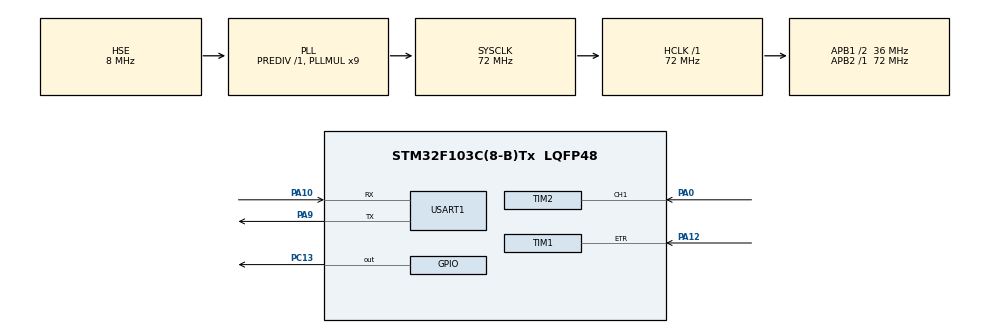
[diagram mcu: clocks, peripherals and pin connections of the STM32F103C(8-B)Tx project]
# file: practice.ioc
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Dma.Request0=USART1_RX
Dma.USART1_RX.0.Direction=DMA_PERIPH_TO_MEMORY
Dma.USART1_RX.0.Instance=DMA1_Channel5
Dma.USART1_RX.0.MemDataAlignment=DMA_MDATAALIGN_BYTE
Dma.USART1_RX.0.MemInc=DMA_MINC_ENABLE
Dma.USART1_RX.0.Mode=DMA_NORMAL
Dma.USART1_RX.0.PeriphDataAlignment=DMA_PDATAALIGN_BYTE
Dma.USART1_RX.0.PeriphInc=DMA_PINC_DISABLE
Dma.USART1_RX.0.Priority=DMA_PRIORITY_LOW
Mcu.Family=STM32F1
Mcu.Name=STM32F103C(8-B)Tx
Mcu.Package=LQFP48
NVIC.DMA1_Channel5_IRQn=true\:0\:0\:false\:false\:true\:false\:true\:true
NVIC.PriorityGroup=NVIC_PRIORITYGROUP_4
NVIC.TIM1_UP_IRQn=true\:0\:0\:false\:false\:true\:true\:true\:true
NVIC.TIM2_IRQn=true\:0\:0\:false\:false\:true\:true\:true\:true
NVIC.USART1_IRQn=true\:0\:0\:false\:false\:true\:true\:true\:true
PA0-WKUP.Signal=S_TIM2_CH1_ETR
PA10.Mode=Asynchronous
PA10.Signal=USART1_RX
PA12.Signal=S_TIM1_ETR
PA13.Mode=Serial_Wire
PA13.Signal=SYS_JTMS-SWDIO
PA14.Mode=Serial_Wire
PA14.Signal=SYS_JTCK-SWCLK
PA9.Mode=Asynchronous
PA9.Signal=USART1_TX
PC13-TAMPER-RTC.Signal=GPIO_Output
PD0-OSC_IN.Mode=HSE-External-Oscillator
PD0-OSC_IN.Signal=RCC_OSC_IN
PD1-OSC_OUT.Mode=HSE-External-Oscillator
PD1-OSC_OUT.Signal=RCC_OSC_OUT
ProjectManager.HeapSize=0x200
ProjectManager.StackSize=0x400
ProjectManager.TargetToolchain=STM32CubeIDE
RCC.AHBFreq_Value=72000000
RCC.APB1CLKDivider=RCC_HCLK_DIV2
RCC.APB1Freq_Value=36000000
RCC.APB1TimFreq_Value=72000000
RCC.APB2Freq_Value=72000000
RCC.APB2TimFreq_Value=72000000
RCC.HCLKFreq_Value=72000000
RCC.PLLMUL=RCC_PLL_MUL9
RCC.PLLSourceVirtual=RCC_PLLSOURCE_HSE
RCC.SYSCLKFreq_VALUE=72000000
RCC.SYSCLKSource=RCC_SYSCLKSOURCE_PLLCLK
RCC.USBFreq_Value=72000000
SH.S_TIM1_ETR.0=TIM1_ETR,ClockSourceETR_Mode2
SH.S_TIM2_CH1_ETR.0=TIM2_CH1,Input_Capture1_from_TI1
SH.S_TIM2_CH1_ETR.1=TIM2_CH1
TIM2.Channel-Input_Capture1_from_TI1=TIM_CHANNEL_1
TIM2.Channel-Input_Capture2_from_TI1_63=TIM_CHANNEL_2
TIM2.ICPolarity_CH2=TIM_INPUTCHANNELPOLARITY_FALLING
TIM2.Prescaler=0
USART1.VirtualMode=VM_ASYNC
VP_TIM2_VS_ClockSourceINT.Mode=Internal
VP_TIM2_VS_indirect_ch1.Mode=Input_Capture2_from_TI1_63
board=custom

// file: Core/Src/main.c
/* USER CODE BEGIN Header */
/**
  ******************************************************************************
  * @file           : main.c
  * @brief          : Main program body
  ******************************************************************************
  * @attention
  *
  * Copyright (c) 2026 STMicroelectronics.
  * All rights reserved.
  *
  * This software is licensed under terms that can be found in the LICENSE file
  * in the root directory of this software component.
  * If no LICENSE file comes with this software, it is provided AS-IS.
  *
  ******************************************************************************
  */
/* USER CODE END Header */
#include "main.h"

/* USER CODE BEGIN Includes */
#include <string.h>
#include <stdio.h>
#include <stdint.h>
#include <stdlib.h>
/* USER CODE END Includes */

TIM_HandleTypeDef htim1;
TIM_HandleTypeDef htim2;

UART_HandleTypeDef huart1;
DMA_HandleTypeDef hdma_usart1_rx;

/* USER CODE BEGIN PV */

#define TIM2_CLK_HZ        72000000UL
#define WIDTH_BUF_SIZE     8192
#define UART_CMD_BUF_SIZE  64

/* UART 命令行 */

uint8_t uart_rx_byte = 0;

char uart_rx_buf[UART_CMD_BUF_SIZE];
char uart_cmd_buf[UART_CMD_BUF_SIZE];

volatile uint8_t uart_rx_index = 0;
volatile uint8_t uart_cmd_ready = 0;

/* 脉宽采集 */

volatile uint16_t width_buf[WIDTH_BUF_SIZE];

volatile uint32_t width_count = 0;
volatile uint8_t acquisition_on = 0;

volatile uint32_t width_total_count = 0;
volatile uint32_t width_write_index = 0;
volatile uint8_t width_buf_overwritten = 0;

uint32_t acquisition_start_tick = 0;
uint32_t acquisition_duration_ms = 0;

volatile uint8_t acquisition_done = 0;

volatile uint16_t last_width_ticks = 0;

uint32_t last_blink_tick = 0;

volatile uint16_t rise_ccr1 = 0;
volatile uint8_t rise_valid = 0;

/* TIM1_ETR */
volatile uint32_t etr_overflow = 0;
volatile uint32_t etr_count_latched = 0;
volatile uint8_t width_buf_full = 0;

/* USER CODE END PV */

void SystemClock_Config(void);
static void MX_GPIO_Init(void);
static void MX_DMA_Init(void);
static void MX_USART1_UART_Init(void);
static void MX_TIM2_Init(void);
static void MX_TIM1_Init(void);
/* USER CODE BEGIN PFP */

void Process_Command(char *cmd);
void Uart_SendString(const char *s);
static uint32_t Ticks_To_Ns(uint16_t ticks);
static void Save_Width_Ticks(uint16_t width_ticks);
static uint32_t Get_ETR_Count(void);
static void Stop_Acquisition(uint8_t reason);
/* USER CODE END PFP */

int main(void)
{

  /* MCU Configuration--------------------------------------------------------*/

  /* Reset of all peripherals, Initializes the Flash interface and the Systick. */
  HAL_Init();

  /* Configure the system clock */
  SystemClock_Config();

  /* Initialize all configured peripherals */
  MX_GPIO_Init();
  MX_DMA_Init();
  MX_USART1_UART_Init();
  MX_TIM2_Init();
  MX_TIM1_Init();
  /* USER CODE BEGIN 2 */
  HAL_UART_Receive_IT(&huart1, &uart_rx_byte, 1);

  HAL_TIM_IC_Start_IT(&htim2, TIM_CHANNEL_1);
  HAL_TIM_IC_Start_IT(&htim2, TIM_CHANNEL_2);

  Uart_SendString("Usage: start_n (n seconds, up to latest 8192 pulses), dump (export data)\r\n\r\n");

  /* USER CODE END 2 */

  /* Infinite loop */
  while (1)
  {

    /* USER CODE BEGIN 3 */

    if (uart_cmd_ready)
    {
        uart_cmd_ready = 0;
        Process_Command(uart_cmd_buf);
    }

    if (acquisition_on)
    {
        if (HAL_GetTick() - acquisition_start_tick >= acquisition_duration_ms)
        {
            Stop_Acquisition(1);
        }
    }
    if (acquisition_done)
    {
        char msg[128];

        if (acquisition_done == 1)
        {
            sprintf(msg,
                    "Acquisition finished. N=%lu,N_SAVED=%lu,ETR_COUNT=%lu\r\n",
                    width_total_count,
                    width_count,
                    etr_count_latched);
        }
        else
        {
            sprintf(msg,
                    "Acquisition stopped. N=%lu,N_SAVED=%lu,ETR_COUNT=%lu\r\n",
                    width_total_count,
                    width_count,
                    etr_count_latched);
        }

        acquisition_done = 0;
        Uart_SendString(msg);
    }

    if (HAL_GetTick() - last_blink_tick >= 500)
    {
        last_blink_tick = HAL_GetTick();
        HAL_GPIO_TogglePin(GPIOC, GPIO_PIN_13);
    }

  /* USER CODE END 3 */
  }
}

void SystemClock_Config(void)
{
  RCC_OscInitTypeDef RCC_OscInitStruct = {0};
  RCC_ClkInitTypeDef RCC_ClkInitStruct = {0};

  /** Initializes the RCC Oscillators according to the specified parameters
  * in the RCC_OscInitTypeDef structure.
  */
  RCC_OscInitStruct.OscillatorType = RCC_OSCILLATORTYPE_HSE;
  RCC_OscInitStruct.HSEState = RCC_HSE_ON;
  RCC_OscInitStruct.HSEPredivValue = RCC_HSE_PREDIV_DIV1;
  RCC_OscInitStruct.HSIState = RCC_HSI_ON;
  RCC_OscInitStruct.PLL.PLLState = RCC_PLL_ON;
  RCC_OscInitStruct.PLL.PLLSource = RCC_PLLSOURCE_HSE;
  RCC_OscInitStruct.PLL.PLLMUL = RCC_PLL_MUL9;
  if (HAL_RCC_OscConfig(&RCC_OscInitStruct) != HAL_OK)
  {
    Error_Handler();
  }

  /** Initializes the CPU, AHB and APB buses clocks
  */
  RCC_ClkInitStruct.ClockType = RCC_CLOCKTYPE_HCLK|RCC_CLOCKTYPE_SYSCLK
                              |RCC_CLOCKTYPE_PCLK1|RCC_CLOCKTYPE_PCLK2;
  RCC_ClkInitStruct.SYSCLKSource = RCC_SYSCLKSOURCE_PLLCLK;
  RCC_ClkInitStruct.AHBCLKDivider = RCC_SYSCLK_DIV1;
  RCC_ClkInitStruct.APB1CLKDivider = RCC_HCLK_DIV2;
  RCC_ClkInitStruct.APB2CLKDivider = RCC_HCLK_DIV1;

  if (HAL_RCC_ClockConfig(&RCC_ClkInitStruct, FLASH_LATENCY_2) != HAL_OK)
  {
    Error_Handler();
  }
}

static void MX_TIM1_Init(void)
{

  TIM_ClockConfigTypeDef sClockSourceConfig = {0};
  TIM_MasterConfigTypeDef sMasterConfig = {0};

  htim1.Instance = TIM1;
  htim1.Init.Prescaler = 0;
  htim1.Init.CounterMode = TIM_COUNTERMODE_UP;
  htim1.Init.Period = 65535;
  htim1.Init.ClockDivision = TIM_CLOCKDIVISION_DIV1;
  htim1.Init.RepetitionCounter = 0;
  htim1.Init.AutoReloadPreload = TIM_AUTORELOAD_PRELOAD_DISABLE;
  if (HAL_TIM_Base_Init(&htim1) != HAL_OK)
  {
    Error_Handler();
  }
  sClockSourceConfig.ClockSource = TIM_CLOCKSOURCE_ETRMODE2;
  sClockSourceConfig.ClockPolarity = TIM_CLOCKPOLARITY_NONINVERTED;
  sClockSourceConfig.ClockPrescaler = TIM_CLOCKPRESCALER_DIV1;
  sClockSourceConfig.ClockFilter = 0;
  if (HAL_TIM_ConfigClockSource(&htim1, &sClockSourceConfig) != HAL_OK)
  {
    Error_Handler();
  }
  sMasterConfig.MasterOutputTrigger = TIM_TRGO_RESET;
  sMasterConfig.MasterSlaveMode = TIM_MASTERSLAVEMODE_DISABLE;
  if (HAL_TIMEx_MasterConfigSynchronization(&htim1, &sMasterConfig) != HAL_OK)
  {
    Error_Handler();
  }

}

static void MX_TIM2_Init(void)
{

  TIM_ClockConfigTypeDef sClockSourceConfig = {0};
  TIM_MasterConfigTypeDef sMasterConfig = {0};
  TIM_IC_InitTypeDef sConfigIC = {0};

  htim2.Instance = TIM2;
  htim2.Init.Prescaler = 0;
  htim2.Init.CounterMode = TIM_COUNTERMODE_UP;
  htim2.Init.Period = 65535;
  htim2.Init.ClockDivision = TIM_CLOCKDIVISION_DIV1;
  htim2.Init.AutoReloadPreload = TIM_AUTORELOAD_PRELOAD_DISABLE;
  if (HAL_TIM_Base_Init(&htim2) != HAL_OK)
  {
    Error_Handler();
  }
  sClockSourceConfig.ClockSource = TIM_CLOCKSOURCE_INTERNAL;
  if (HAL_TIM_ConfigClockSource(&htim2, &sClockSourceConfig) != HAL_OK)
  {
    Error_Handler();
  }
  if (HAL_TIM_IC_Init(&htim2) != HAL_OK)
  {
    Error_Handler();
  }
  sMasterConfig.MasterOutputTrigger = TIM_TRGO_RESET;
  sMasterConfig.MasterSlaveMode = TIM_MASTERSLAVEMODE_DISABLE;
  if (HAL_TIMEx_MasterConfigSynchronization(&htim2, &sMasterConfig) != HAL_OK)
  {
    Error_Handler();
  }
  sConfigIC.ICPolarity = TIM_INPUTCHANNELPOLARITY_RISING;
  sConfigIC.ICSelection = TIM_ICSELECTION_DIRECTTI;
  sConfigIC.ICPrescaler = TIM_ICPSC_DIV1;
  sConfigIC.ICFilter = 0;
  if (HAL_TIM_IC_ConfigChannel(&htim2, &sConfigIC, TIM_CHANNEL_1) != HAL_OK)
  {
    Error_Handler();
  }
  sConfigIC.ICPolarity = TIM_INPUTCHANNELPOLARITY_FALLING;
  sConfigIC.ICSelection = TIM_ICSELECTION_INDIRECTTI;
  if (HAL_TIM_IC_ConfigChannel(&htim2, &sConfigIC, TIM_CHANNEL_2) != HAL_OK)
  {
    Error_Handler();
  }

}

static void MX_USART1_UART_Init(void)
{

  huart1.Instance = USART1;
  huart1.Init.BaudRate = 115200;
  huart1.Init.WordLength = UART_WORDLENGTH_8B;
  huart1.Init.StopBits = UART_STOPBITS_1;
  huart1.Init.Parity = UART_PARITY_NONE;
  huart1.Init.Mode = UART_MODE_TX_RX;
  huart1.Init.HwFlowCtl = UART_HWCONTROL_NONE;
  huart1.Init.OverSampling = UART_OVERSAMPLING_16;
  if (HAL_UART_Init(&huart1) != HAL_OK)
  {
    Error_Handler();
  }

}

static void MX_DMA_Init(void)
{

  /* DMA controller clock enable */
  __HAL_RCC_DMA1_CLK_ENABLE();

  /* DMA interrupt init */
  /* DMA1_Channel5_IRQn interrupt configuration */
  HAL_NVIC_SetPriority(DMA1_Channel5_IRQn, 0, 0);
  HAL_NVIC_EnableIRQ(DMA1_Channel5_IRQn);

}

static void MX_GPIO_Init(void)
{
  GPIO_InitTypeDef GPIO_InitStruct = {0};

  /* GPIO Ports Clock Enable */
  __HAL_RCC_GPIOC_CLK_ENABLE();
  __HAL_RCC_GPIOD_CLK_ENABLE();
  __HAL_RCC_GPIOA_CLK_ENABLE();

  /*Configure GPIO pin Output Level */
  HAL_GPIO_WritePin(GPIOC, GPIO_PIN_13, GPIO_PIN_RESET);

  /*Configure GPIO pin : PC13 */
  GPIO_InitStruct.Pin = GPIO_PIN_13;
  GPIO_InitStruct.Mode = GPIO_MODE_OUTPUT_PP;
  GPIO_InitStruct.Pull = GPIO_NOPULL;
  GPIO_InitStruct.Speed = GPIO_SPEED_FREQ_LOW;
  HAL_GPIO_Init(GPIOC, &GPIO_InitStruct);

}

/* USER CODE BEGIN 4 */

/* 串口发送 */

void Uart_SendString(const char *s)
{
    HAL_UART_Transmit(&huart1, (uint8_t *)s, strlen(s), HAL_MAX_DELAY);
}

/* tick 转 ns */
static uint32_t Ticks_To_Ns(uint16_t ticks)
{
    return (uint32_t)(((uint64_t)ticks * 1000000000ULL) / TIM2_CLK_HZ);
}

static uint32_t Get_ETR_Count(void)
{
    uint32_t high1, high2;
    uint16_t low;

    do
    {
        high1 = etr_overflow;
        low = (uint16_t)__HAL_TIM_GET_COUNTER(&htim1);
        high2 = etr_overflow;
    } while (high1 != high2);

    return high2 * 65536UL + low;
}

static void Stop_Acquisition(uint8_t reason)
{
    acquisition_on = 0;

    HAL_TIM_Base_Stop_IT(&htim1);

    etr_count_latched = Get_ETR_Count();
    acquisition_done = reason;
}
/* 保存脉宽 */
static void Save_Width_Ticks(uint16_t width_ticks)
{
    last_width_ticks = width_ticks;

    if (acquisition_on)
    {
        width_total_count++;

        width_buf[width_write_index] = width_ticks;

        width_write_index++;
        if (width_write_index >= WIDTH_BUF_SIZE)
        {
            width_write_index = 0;
        }

        if (width_count < WIDTH_BUF_SIZE)
        {
            width_count++;
        }
        else
        {
            width_buf_overwritten = 1;
        }
    }
}
/* 命令处理 */
void Process_Command(char *cmd)
{
    char msg[128];
    if (strncmp(cmd, "start_", 6) == 0)
    {
        int seconds = atoi(&cmd[6]);

        if (seconds <= 0)
        {
            Uart_SendString("ERROR: bad acquisition time\r\n");
            return;
        }

        HAL_TIM_Base_Stop_IT(&htim1);

        __disable_irq();

        width_count = 0;
        width_total_count = 0;
        width_write_index = 0;
        width_buf_overwritten = 0;

        last_width_ticks = 0;
        rise_ccr1 = 0;
        rise_valid = 0;

        etr_overflow = 0;
        etr_count_latched = 0;

        __HAL_TIM_SET_COUNTER(&htim1, 0);
        __HAL_TIM_CLEAR_FLAG(&htim1, TIM_FLAG_UPDATE);

        acquisition_duration_ms = (uint32_t)seconds * 1000UL;
        acquisition_start_tick = HAL_GetTick();
        acquisition_done = 0;
        acquisition_on = 1;

        __enable_irq();

        if (HAL_TIM_Base_Start_IT(&htim1) != HAL_OK)
        {
            acquisition_on = 0;
            Uart_SendString("ERROR: TIM1_ETR start failed\r\n");
            return;
        }

        sprintf(msg, "Acquisition started for %d s.\r\n", seconds);
        Uart_SendString(msg);
    }
    else if (strcmp(cmd, "dump") == 0)
    {
        uint32_t n_saved;
        uint32_t n_total;
        uint32_t etr_n;
        uint32_t write_index;
        uint8_t overwritten;

        if (acquisition_on)
        {
            Stop_Acquisition(3);
        }

        __disable_irq();
        n_saved = width_count;
        n_total = width_total_count;
        etr_n = etr_count_latched;
        write_index = width_write_index;
        overwritten = width_buf_overwritten;
        __enable_irq();

        sprintf(msg,
                "N=%lu,N_SAVED=%lu,TIMCLK=%lu,ETR_COUNT=%lu.\r\n",
                n_total,
                n_saved,
                TIM2_CLK_HZ,
                etr_n);
        Uart_SendString(msg);

        Uart_SendString("index,width_ticks,width_ns\r\n");

        for (uint32_t i = 0; i < n_saved; i++)
        {
            uint32_t buf_index;

            if (overwritten)
            {
                buf_index = write_index + i;
                if (buf_index >= WIDTH_BUF_SIZE)
                {
                    buf_index -= WIDTH_BUF_SIZE;
                }
            }
            else
            {
                buf_index = i;
            }

            uint16_t ticks = width_buf[buf_index];
            uint32_t ns = Ticks_To_Ns(ticks);

            sprintf(msg, "%lu,%u,%lu\r\n", i, ticks, ns);
            Uart_SendString(msg);
        }

        Uart_SendString("END\r\n");
    }
}
void HAL_UART_RxCpltCallback(UART_HandleTypeDef *huart)
{
    if (huart->Instance == USART1)
    {
        char ch = (char)uart_rx_byte;

        if (uart_cmd_ready == 0)
        {
            if (ch == '\r')
            {

            }
            else if (ch == '\n')
            {

                uart_rx_buf[uart_rx_index] = '\0';

                strcpy(uart_cmd_buf, uart_rx_buf);

                uart_rx_index = 0;
                uart_cmd_ready = 1;
            }
            else
            {
                if (uart_rx_index < UART_CMD_BUF_SIZE - 1)
                {
                    uart_rx_buf[uart_rx_index] = ch;
                    uart_rx_index++;
                }
                else
                {

                    uart_rx_index = 0;
                }
            }
        }

        HAL_UART_Receive_IT(&huart1, &uart_rx_byte, 1);
    }
}
void HAL_TIM_PeriodElapsedCallback(TIM_HandleTypeDef *htim)
{
    if (htim->Instance == TIM1)
    {
        etr_overflow++;
    }
}
void HAL_TIM_IC_CaptureCallback(TIM_HandleTypeDef *htim)
{
    if (htim->Instance == TIM2)
    {
        if (htim->Channel == HAL_TIM_ACTIVE_CHANNEL_1)
        {

            rise_ccr1 = (uint16_t)HAL_TIM_ReadCapturedValue(htim, TIM_CHANNEL_1);
            rise_valid = 1;
        }
        else if (htim->Channel == HAL_TIM_ACTIVE_CHANNEL_2)
        {
            uint16_t fall_ccr2 = (uint16_t)HAL_TIM_ReadCapturedValue(htim, TIM_CHANNEL_2);

            if (rise_valid)
            {
                uint16_t width_ticks = (uint16_t)(fall_ccr2 - rise_ccr1);
                rise_valid = 0;

                Save_Width_Ticks(width_ticks);
            }
        }
    }
}

/* USER CODE END 4 */

void Error_Handler(void)
{
  __disable_irq();
  while (1)
  {
  }
}
